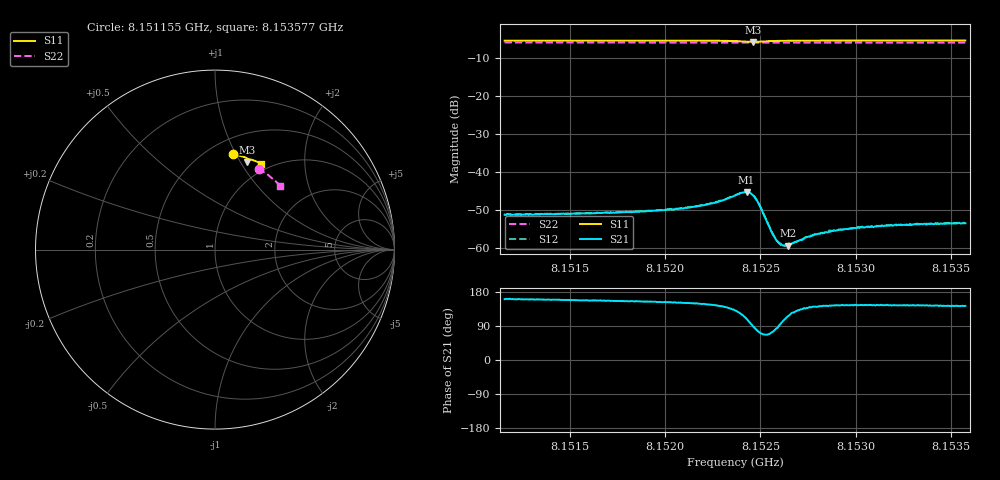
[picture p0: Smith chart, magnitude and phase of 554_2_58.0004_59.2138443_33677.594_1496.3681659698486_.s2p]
#  HZ  S  RI  R  50.00
! Rohde & Schwarz Vector Network Analyzer
! Rohde-Schwarz,ZNB20-2Port,1311601062101988,3.16
! Created: UTC 3/21/2024, 1:15:08 AM
! freq[Hz]  re:S11  im:S11  re:S21  im:S21  re:S12  im:S12  re:S22  im:S22
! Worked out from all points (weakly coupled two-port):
!   401 points, 8.151155 GHz to 8.153577 GHz, reference 50 ohm
!   highest |S21| = -45.29 dB at 8.152427 GHz (marker M1); lowest = -59.5 dB at 8.152645 GHz (marker M2)
!   lowest |S11| = -5.7 dB at 8.152463 GHz (marker M3), VSWR 3.17, Z = 40 + j53.6 ohm
!   |S11| at or under -10 dB: nowhere
!   |S22| runs from -5.9 to -5.8 dB; largest |S21 - S12| = 0.00011
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8.1511552e9  0.101 0.5299  -0.00256 0.000911  -0.00256 0.000928  0.2425 0.4504
8.151561e9  0.1292 0.5244  -0.0026 0.00108  -0.00262 0.00113  0.2649 0.4369
8.1519667e9  0.1576 0.5169  -0.00278 0.0014  -0.00277 0.00147  0.2864 0.4225
8.1520999e9  0.1675 0.5137  -0.00288 0.00163  -0.00291 0.00168  0.2935 0.4175
8.152215e9  0.1764 0.51  -0.00312 0.00202  -0.00307 0.00206  0.2993 0.4131
8.1522997e9  0.1835 0.5055  -0.00328 0.00257  -0.00327 0.00267  0.3035 0.4096
8.1523664e9  0.1885 0.4992  -0.0032 0.00366  -0.00317 0.00373  0.3068 0.4068
8.1524269e9  0.187 0.4897  -0.00175 0.00515  -0.00171 0.00519  0.3095 0.4042
8.1524451e9  0.1839 0.4879  -0.000812 0.00523  -0.000767 0.00527  0.3102 0.4035
8.1524632e9  0.1801 0.4885  0.000196 0.00483  0.000229 0.00487  0.311 0.4029
8.1524935e9  0.1766 0.4931  0.00104 0.00352  0.00111 0.00354  0.3125 0.4019
8.1525541e9  0.181 0.5014  0.000545 0.00161  0.000608 0.0016  0.3156 0.4
8.1525722e9  0.1831 0.5025  0.000305 0.00137  0.000357 0.00137  0.3165 0.3992
8.1525844e9  0.1846 0.5028  0.000135 0.00124  0.000149 0.00123  0.317 0.3986
8.1526025e9  0.1868 0.5032  -6.34e-05 0.00114  -5.02e-05 0.00113  0.318 0.3981
8.1526146e9  0.1881 0.5033  -0.000196 0.00106  -0.000185 0.00104  0.3188 0.3974
8.1526449e9  0.1912 0.5034  -0.000459 0.000959  -0.000449 0.000987  0.3203 0.3961
8.1527721e9  0.2025 0.5012  -0.0011 0.000925  -0.00109 0.000934  0.3265 0.3909
8.1529053e9  0.2124 0.4981  -0.00138 0.000995  -0.00136 0.000997  0.3328 0.3852
8.1530264e9  0.2208 0.4948  -0.00152 0.00106  -0.00151 0.00107  0.3386 0.3801
8.1531778e9  0.231 0.4906  -0.00159 0.00114  -0.00162 0.00114  0.3456 0.3736
8.1535775e9  0.2564 0.4786  -0.00167 0.00127  -0.00165 0.0013  0.3633 0.3554
